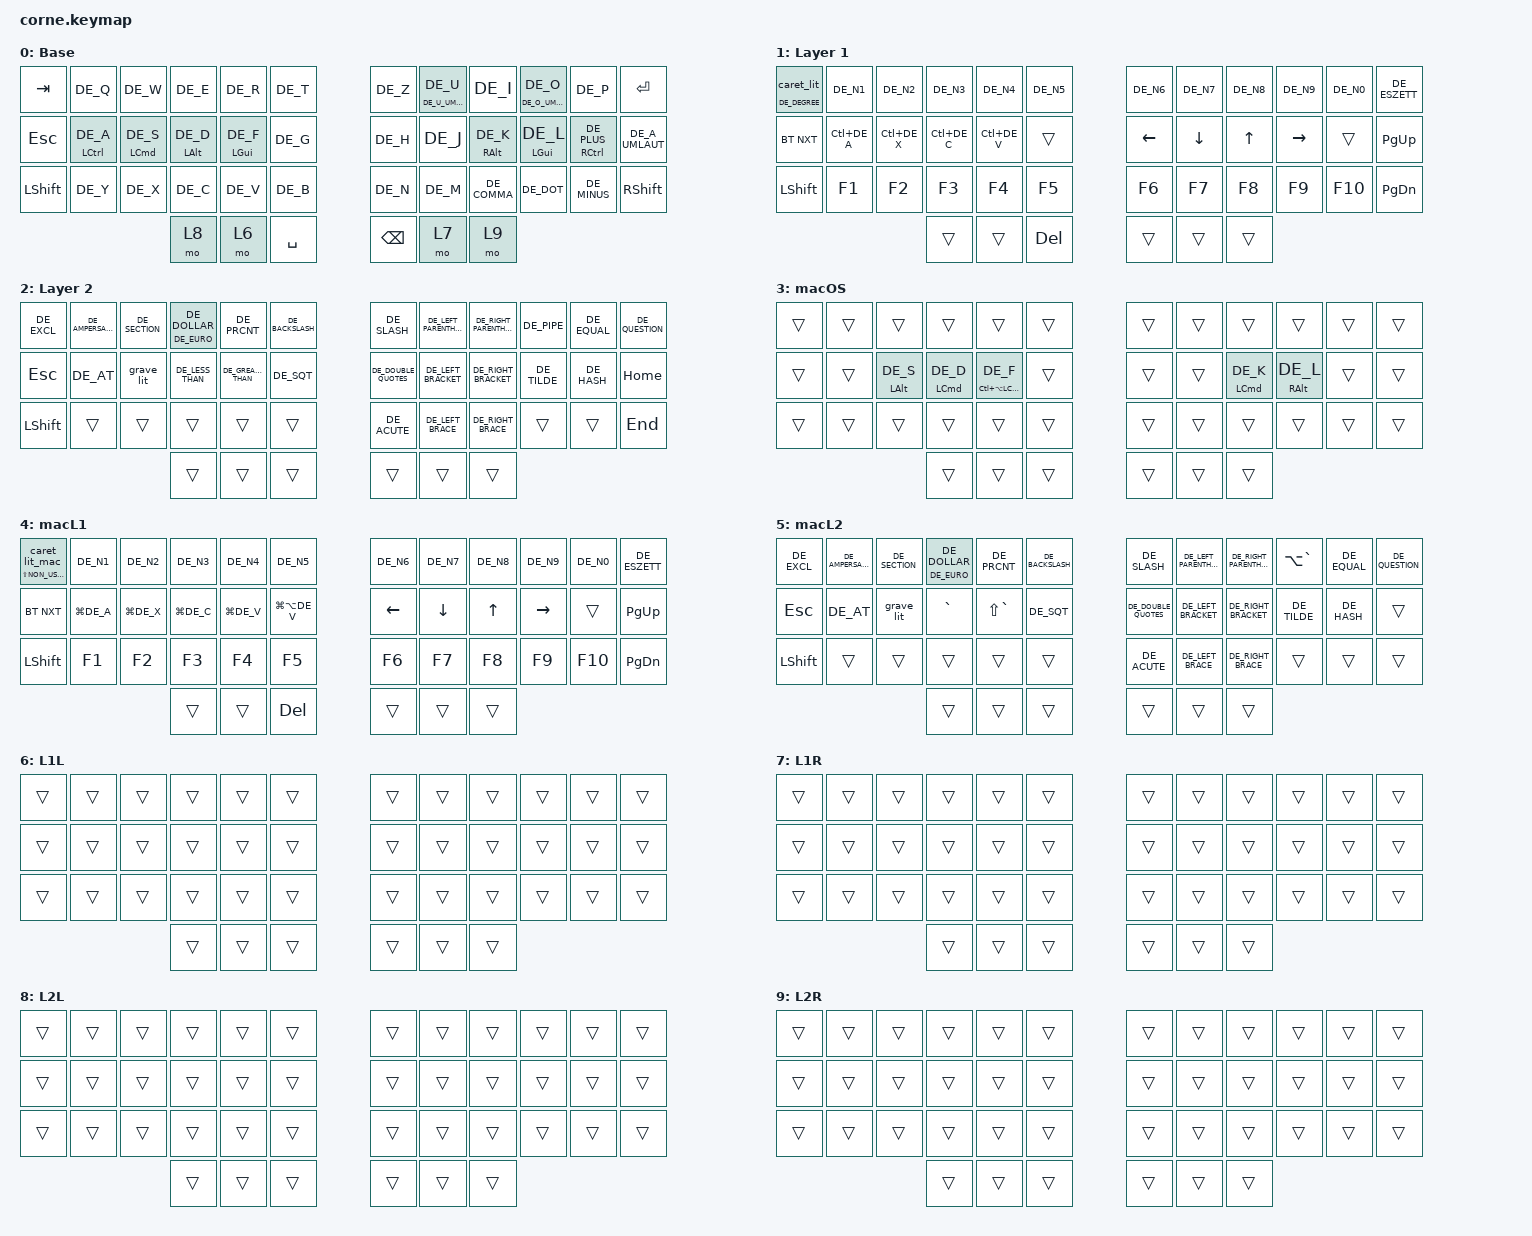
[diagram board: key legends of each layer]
/*
 * Copyright (c) 2020 The ZMK Contributors
 *
 * SPDX-License-Identifier: MIT
 */

#include <behaviors.dtsi>
#include <dt-bindings/zmk/bt.h>
#include <dt-bindings/zmk/keys.h>
#include "keys_de.h"

/ {
    macros {
        // Dead key + space = literal character
        grave_lit: grave_lit {
            compatible = "zmk,behavior-macro";
            #binding-cells = <0>;
            bindings = <&kp DE_GRAVE &kp SPACE>;
        };

        caret_lit: caret_lit {
            compatible = "zmk,behavior-macro";
            #binding-cells = <0>;
            bindings = <&kp DE_CARET &kp SPACE>;
        };

        caret_lit_mac: caret_lit_mac {
            compatible = "zmk,behavior-macro";
            #binding-cells = <0>;
            bindings = <&kp NON_US_BSLH &kp SPACE>;
        };
    };

    behaviors {
        // Hold: kp <param1>, tap: literal ^ (param2 unused, pass 0)
        caret_hold: caret_hold {
            compatible = "zmk,behavior-hold-tap";
            bindings = <&kp>, <&caret_lit>;

            #binding-cells = <2>;
            tapping-term-ms = <300>;
            flavor = "tap-preferred";
        };

        caret_hold_mac: caret_hold_mac {
            compatible = "zmk,behavior-hold-tap";
            bindings = <&kp>, <&caret_lit_mac>;

            #binding-cells = <2>;
            tapping-term-ms = <300>;
            flavor = "tap-preferred";
        };

        tap_hold: tap_hold {
            compatible = "zmk,behavior-hold-tap";
            label = "TAP_HOLD";
            bindings = <&kp>, <&kp>;

            #binding-cells = <2>;
            tapping-term-ms = <300>;
            flavor = "tap-preferred";
        };
    };

    combos {
        compatible = "zmk,combos";

        toggle_macOS {
            bindings = <&tog 3>;
            key-positions = <36 37 40 41>;
        };

        clear {
            bindings = <&bt BT_CLR>;
            key-positions = <38 37 36 39 40 41>;
        };
    };

    keymap {
        compatible = "zmk,keymap";

        base {
            // tap/hold, blank = transparent
            // | TAB  |   Q   |   W   |   E   |   R   |  T  |   |  Z   |  U/Ü  |   I   |  O/Ö  |   P   | ENTER |
            // | ESC  | A/CTL | S/GUI | D/ALT | F/GUI |  G  |   |  H   |   J   | K/AGR | L/GUI | +/CTL |   Ä   |
            // | SHFT |   Y   |   X   |   C   |   V   |  B  |   |  N   |   M   |   ,   |   .   |   -   | SHFT  |
            //                        |  L2   |  L1   | SPC |   | BKSP |  L1   |  L2   |
            // L1/L2 go through trigger layers 6-9 so switching thumbs mid-hold keeps the layer

            display-name = "Base";
            bindings = <
&kp TAB    &kp DE_Q              &kp DE_W                     &kp DE_E                 &kp DE_R                 &kp DE_T     &kp DE_Z       &tap_hold DE_U_UMLAUT DE_U  &kp DE_I                  &tap_hold DE_O_UMLAUT DE_O  &kp DE_P                         &kp ENTER
&kp ESC    &tap_hold LCTRL DE_A  &tap_hold LEFT_COMMAND DE_S  &tap_hold LEFT_ALT DE_D  &tap_hold LEFT_GUI DE_F  &kp DE_G     &kp DE_H       &kp DE_J                    &tap_hold RIGHT_ALT DE_K  &tap_hold LEFT_GUI DE_L     &tap_hold RIGHT_CONTROL DE_PLUS  &kp DE_A_UMLAUT
&kp LSHFT  &kp DE_Y              &kp DE_X                     &kp DE_C                 &kp DE_V                 &kp DE_B     &kp DE_N       &kp DE_M                    &kp DE_COMMA              &kp DE_DOT                  &kp DE_MINUS                     &kp RIGHT_SHIFT
                                                              &mo 8                    &mo 6                    &kp SPACE    &kp BACKSPACE  &mo 7                       &mo 9
            >;
        };

        layer1 {
            // | ^/°  |  1  |  2  |  3  |  4  |  5  |   |  6  |  7  |  8  |  9  |  0  |  ß   |
            // |BT_NXT| C-A | C-X | C-C | C-V |     |   |  ←  |  ↓  |  ↑  |  →  |     | PGUP |
            // | SHFT | F1  | F2  | F3  | F4  | F5  |   | F6  | F7  | F8  | F9  | F10 | PGDN |
            //                    |     |     | DEL |   |     |     |     |
            // ^ is sent as literal (dead key + space)

            display-name = "Layer 1";
            bindings = <
&caret_hold DE_DEGREE 0        &kp DE_N1     &kp DE_N2     &kp DE_N3     &kp DE_N4     &kp DE_N5     &kp DE_N6  &kp DE_N7  &kp DE_N8  &kp DE_N9  &kp DE_N0  &kp DE_ESZETT
&bt BT_NXT                    &kp LC(DE_A)  &kp LC(DE_X)  &kp LC(DE_C)  &kp LC(DE_V)  &trans        &kp LEFT   &kp DOWN   &kp UP     &kp RIGHT  &trans     &kp PAGE_UP
&kp LEFT_SHIFT                &kp F1        &kp F2        &kp F3        &kp F4        &kp F5        &kp F6     &kp F7     &kp F8     &kp F9     &kp F10    &kp PAGE_DOWN
                                                          &trans        &trans        &kp DELETE    &trans     &trans     &trans
            >;
        };

        layer2 {
            // |  !   |  &  |  §  | $/€ |  %  |  \  |   |  /  |  (  |  )  | "|" |  =  |  ?   |
            // | ESC  |  @  |  `  |  <  |  >  |  '  |   |  "  |  [  |  ]  |  ~  |  #  | HOME |
            // | SHFT |     |     |     |     |     |   |  ´  |  {  |  }  |     |     | END  |
            //                    |     |     |     |   |     |     |     |
            // ` is sent as literal (dead key + space), ´ stays a dead key

            display-name = "Layer 2";
            bindings = <
&kp DE_EXCL     &kp DE_AMPERSAND  &kp DE_SECTION  &tap_hold DE_EURO DE_DOLLAR  &kp DE_PRCNT         &kp DE_BACKSLASH    &kp DE_SLASH          &kp DE_LEFT_PARENTHESIS  &kp DE_RIGHT_PARENTHESIS  &kp DE_PIPE   &kp DE_EQUAL  &kp DE_QUESTION
&kp ESCAPE      &kp DE_AT         &grave_lit       &kp DE_LESS_THAN             &kp DE_GREATER_THAN  &kp DE_SQT          &kp DE_DOUBLE_QUOTES  &kp DE_LEFT_BRACKET      &kp DE_RIGHT_BRACKET      &kp DE_TILDE  &kp DE_HASH   &kp HOME
&kp LEFT_SHIFT  &trans            &trans          &trans                       &trans               &trans              &kp DE_ACUTE          &kp DE_LEFT_BRACE        &kp DE_RIGHT_BRACE        &trans        &trans        &kp END
                                                  &trans                       &trans               &trans              &trans                &trans                   &trans
            >;
        };

        macos_flag {
            // Toggled by combo (both L1+L2 thumbs). Mac mods: S/ALT, D/CMD, F/HYPER(ctl+alt+cmd), K/CMD, L/ALT
            display-name = "macOS";
            bindings = <
&trans  &trans  &trans                   &trans                       &trans                               &trans    &trans  &trans  &trans                       &trans                    &trans  &trans
&trans  &trans  &tap_hold LEFT_ALT DE_S  &tap_hold LEFT_COMMAND DE_D  &tap_hold LC(LA(LEFT_COMMAND)) DE_F  &trans    &trans  &trans  &tap_hold LEFT_COMMAND DE_K  &tap_hold RIGHT_ALT DE_L  &trans  &trans
&trans  &trans  &trans                   &trans                       &trans                               &trans    &trans  &trans  &trans                       &trans                    &trans  &trans
                                         &trans                       &trans                               &trans    &trans  &trans  &trans
            >;
        };

        macos_layer1 {
            // Active when L1 + macOS: like L1 but CMD shortcuts, CMD+ALT+V on G, mac ^ key
            display-name = "macL1";
            bindings = <
&caret_hold_mac LS(NON_US_BSLH) 0         &kp DE_N1     &kp DE_N2     &kp DE_N3     &kp DE_N4     &kp DE_N5           &kp DE_N6  &kp DE_N7  &kp DE_N8  &kp DE_N9  &kp DE_N0  &kp DE_ESZETT
&bt BT_NXT                             &kp LG(DE_A)  &kp LG(DE_X)  &kp LG(DE_C)  &kp LG(DE_V)  &kp LG(LA(DE_V))    &kp LEFT   &kp DOWN   &kp UP     &kp RIGHT  &trans     &kp PAGE_UP
&kp LEFT_SHIFT                         &kp F1        &kp F2        &kp F3        &kp F4        &kp F5              &kp F6     &kp F7     &kp F8     &kp F9     &kp F10    &kp PAGE_DOWN
                                                                   &trans        &trans        &kp DELETE          &trans     &trans     &trans
            >;
        };

        macos_layer2 {
            // Active when L2 + macOS: like L2 but mac keycodes for | < >
            display-name = "macL2";
            bindings = <
&kp DE_EXCL     &kp DE_AMPERSAND  &kp DE_SECTION  &tap_hold DE_EURO DE_DOLLAR  &kp DE_PRCNT   &kp DE_BACKSLASH    &kp DE_SLASH          &kp DE_LEFT_PARENTHESIS  &kp DE_RIGHT_PARENTHESIS  &kp LA(GRAVE)  &kp DE_EQUAL  &kp DE_QUESTION
&kp ESCAPE      &kp DE_AT         &grave_lit       &kp GRAVE                    &kp LS(GRAVE)  &kp DE_SQT          &kp DE_DOUBLE_QUOTES  &kp DE_LEFT_BRACKET      &kp DE_RIGHT_BRACKET      &kp DE_TILDE   &kp DE_HASH   &trans
&kp LEFT_SHIFT  &trans            &trans          &trans                       &trans         &trans              &kp DE_ACUTE          &kp DE_LEFT_BRACE        &kp DE_RIGHT_BRACE        &trans         &trans        &trans
                                                  &trans                       &trans         &trans              &trans                &trans                   &trans
            >;
        };

        // Empty trigger layers: one per thumb key, so layer 1/2 stays active while
        // either thumb is held (see conditional_layers). &mo alone has no ref-counting.
        l1_left {
            display-name = "L1L";
            bindings = <
&trans &trans &trans &trans &trans &trans &trans &trans &trans &trans &trans &trans
&trans &trans &trans &trans &trans &trans &trans &trans &trans &trans &trans &trans
&trans &trans &trans &trans &trans &trans &trans &trans &trans &trans &trans &trans
                                    &trans &trans &trans &trans &trans &trans
            >;
        };

        l1_right {
            display-name = "L1R";
            bindings = <
&trans &trans &trans &trans &trans &trans &trans &trans &trans &trans &trans &trans
&trans &trans &trans &trans &trans &trans &trans &trans &trans &trans &trans &trans
&trans &trans &trans &trans &trans &trans &trans &trans &trans &trans &trans &trans
                                    &trans &trans &trans &trans &trans &trans
            >;
        };

        l2_left {
            display-name = "L2L";
            bindings = <
&trans &trans &trans &trans &trans &trans &trans &trans &trans &trans &trans &trans
&trans &trans &trans &trans &trans &trans &trans &trans &trans &trans &trans &trans
&trans &trans &trans &trans &trans &trans &trans &trans &trans &trans &trans &trans
                                    &trans &trans &trans &trans &trans &trans
            >;
        };

        l2_right {
            display-name = "L2R";
            bindings = <
&trans &trans &trans &trans &trans &trans &trans &trans &trans &trans &trans &trans
&trans &trans &trans &trans &trans &trans &trans &trans &trans &trans &trans &trans
&trans &trans &trans &trans &trans &trans &trans &trans &trans &trans &trans &trans
                                    &trans &trans &trans &trans &trans &trans
            >;
        };
    };

    conditional_layers {
        compatible = "zmk,conditional-layers";

        // Multiple conditionals with the same then-layer are OR'd.
        layer1_from_left  { if-layers = <6>; then-layer = <1>; };
        layer1_from_right { if-layers = <7>; then-layer = <1>; };
        layer2_from_left  { if-layers = <8>; then-layer = <2>; };
        layer2_from_right { if-layers = <9>; then-layer = <2>; };

        macos_layer1_conditional {
            if-layers = <1 3>;
            then-layer = <4>;
        };

        macos_layer2_conditional {
            if-layers = <2 3>;
            then-layer = <5>;
        };
    };
};
